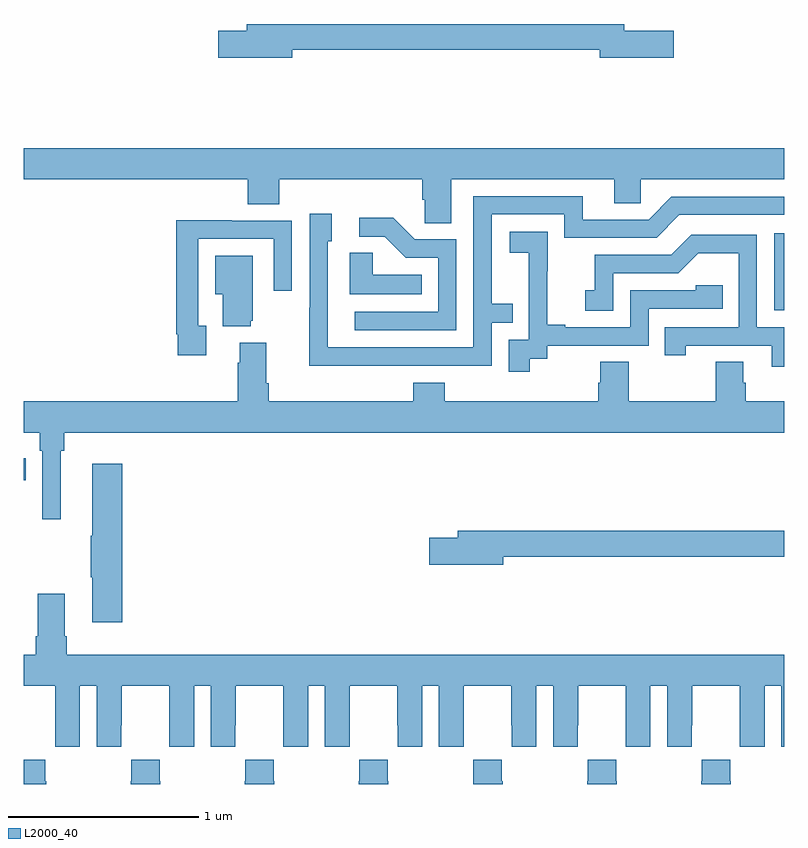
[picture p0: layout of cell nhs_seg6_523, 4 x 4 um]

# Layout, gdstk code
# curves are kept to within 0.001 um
import gdstk
lib = gdstk.Library(unit=1e-6, precision=1e-09)
def R(c, l, rs):  # rectangles x0, y0, x1, y1
    for r in rs: c.add(gdstk.rectangle(r[:2], r[2:], *l))
def P(c, l, *ps):  # polygons
    for p in ps: c.add(gdstk.Polygon(p, *l))
L2000_40 = (2000, 40)

nhs_seg6_523 = lib.new_cell('nhs_seg6_523')
R(nhs_seg6_523, L2000_40, [(143,935.098,143.012,935.214), (146.946,935.991,147,936.397)])
P(nhs_seg6_523, L2000_40, [(144.412,937.36),(146.03,937.36),(146.03,937.318),(146.419,937.318),(146.419,937.46),(146.158,937.46),(146.158,937.496),(144.173,937.496),(144.173,937.46),(144.024,937.46),(144.024,937.318),(144.412,937.318)],
  [(145.249,936.68),(146.105,936.68),(146.105,936.553),(146.244,936.553),(146.244,936.68),(147,936.68),(147,936.844),(143,936.844),(143,936.68),(144.179,936.68),(144.179,936.547),(144.344,936.547),(144.344,936.68),(145.097,936.68),(145.097,936.571),(145.11,936.571),(145.11,936.448),(145.249,936.448)],
  [(144.965,935.7),(145.461,935.7),(145.461,935.925),(145.571,935.925),(145.571,936.026),(145.461,936.026),(145.461,936.495),(145.842,936.495),(145.842,936.372),(146.328,936.372),(146.448,936.492),(147,936.492),(147,936.588),(146.406,936.588),(146.286,936.468),(145.939,936.468),(145.939,936.591),(145.365,936.591),(145.365,935.796),(144.6,935.796),(144.6,936.354),(144.619,936.354),(144.619,936.499),(144.504,936.499),(144.504,936.005),(144.502,936.005),(144.502,935.699)],
  [(145.275,936.363),(145.056,936.363),(144.943,936.476),(144.765,936.476),(144.765,936.378),(144.899,936.378),(145.01,936.267),(145.179,936.267),(145.179,935.982),(144.741,935.982),(144.741,935.886),(145.275,935.886)],
  [(143.959,935.91),(143.919,935.91),(143.919,936.366),(144.315,936.366),(144.315,936.093),(144.411,936.093),(144.411,936.462),(144.095,936.462),(144.095,936.464),(143.803,936.464),(143.803,935.866),(143.811,935.866),(143.811,935.754),(143.959,935.754)],
  [(145.66,935.737),(145.752,935.737),(145.752,935.805),(146.286,935.805),(146.286,936),(146.675,936),(146.675,936.123),(146.535,936.123),(146.535,936.096),(146.19,936.096),(146.19,935.901),(145.849,935.901),(145.849,935.914),(145.754,935.914),(145.754,936.197),(145.755,936.197),(145.755,936.403),(145.557,936.403),(145.557,936.293),(145.655,936.293),(145.655,936.065),(145.656,936.065),(145.656,935.835),(145.551,935.835),(145.551,935.667),(145.66,935.667)],
  [(147,935.901),(146.856,935.901),(146.856,936.387),(146.51,936.387),(146.405,936.282),(146.002,936.282),(146.002,936.097),(145.953,936.097),(145.953,935.988),(146.1,935.988),(146.1,936.186),(146.442,936.186),(146.546,936.29),(146.76,936.29),(146.76,935.901),(146.371,935.901),(146.371,935.754),(146.482,935.754),(146.482,935.805),(146.933,935.805),(146.933,935.694),(147,935.694)],
  [(145.094,936.178),(144.837,936.178),(144.837,936.293),(144.716,936.293),(144.716,936.074),(145.094,936.074)],
  [(144.194,935.937),(144.205,935.937),(144.205,936.277),(144.008,936.277),(144.008,936.074),(144.047,936.074),(144.047,935.906),(144.194,935.906)],
  [(143.194,935.252),(143.213,935.252),(143.213,935.348),(147,935.348),(147,935.512),(146.798,935.512),(146.798,935.61),(146.785,935.61),(146.785,935.72),(146.638,935.72),(146.638,935.512),(146.181,935.512),(146.181,935.72),(146.033,935.72),(146.033,935.61),(146.021,935.61),(146.021,935.512),(145.214,935.512),(145.214,935.611),(145.049,935.611),(145.049,935.512),(144.29,935.512),(144.29,935.608),(144.277,935.608),(144.277,935.821),(144.137,935.821),(144.137,935.714),(144.125,935.714),(144.125,935.512),(143,935.512),(143,935.348),(143.084,935.348),(143.084,935.252),(143.097,935.252),(143.097,934.893),(143.194,934.893)],
  [(143.519,935.185),(143.36,935.185),(143.36,934.805),(143.353,934.805),(143.353,934.588),(143.36,934.588),(143.36,934.35),(143.519,934.35)],
  [(145.522,934.696),(147,934.696),(147,934.832),(145.283,934.832),(145.283,934.796),(145.134,934.796),(145.134,934.654),(145.522,934.654)],
  [(143.296,934.016),(143.384,934.016),(143.384,933.696),(143.514,933.696),(143.514,933.808),(143.515,933.808),(143.515,934.016),(143.765,934.016),(143.765,933.808),(143.766,933.808),(143.766,933.696),(143.896,933.696),(143.896,934.016),(143.984,934.016),(143.984,933.696),(144.114,933.696),(144.114,933.808),(144.115,933.808),(144.115,934.016),(144.365,934.016),(144.365,933.808),(144.366,933.808),(144.366,933.696),(144.496,933.696),(144.496,934.016),(144.584,934.016),(144.584,933.696),(144.714,933.696),(144.714,933.808),(144.715,933.808),(144.715,934.016),(144.965,934.016),(144.965,933.808),(144.966,933.808),(144.966,933.696),(145.096,933.696),(145.096,934.016),(145.184,934.016),(145.184,933.696),(145.314,933.696),(145.314,933.808),(145.315,933.808),(145.315,934.016),(145.565,934.016),(145.565,933.808),(145.566,933.808),(145.566,933.696),(145.696,933.696),(145.696,934.016),(145.784,934.016),(145.784,933.696),(145.914,933.696),(145.914,933.808),(145.915,933.808),(145.915,934.016),(146.165,934.016),(146.165,933.808),(146.166,933.808),(146.166,933.696),(146.296,933.696),(146.296,934.016),(146.384,934.016),(146.384,933.696),(146.514,933.696),(146.514,933.808),(146.515,933.808),(146.515,934.016),(146.765,934.016),(146.765,933.808),(146.766,933.808),(146.766,933.696),(146.896,933.696),(146.896,934.016),(146.984,934.016),(146.984,933.696),(147,933.696),(147,934.18),(143.228,934.18),(143.228,934.276),(143.215,934.276),(143.215,934.501),(143.075,934.501),(143.075,934.276),(143.063,934.276),(143.063,934.18),(143,934.18),(143,934.016),(143.165,934.016),(143.165,933.808),(143.166,933.808),(143.166,933.696),(143.296,933.696)],
  [(143.718,933.515),(143.715,933.515),(143.715,933.628),(143.565,933.628),(143.565,933.515),(143.563,933.515),(143.563,933.5),(143.718,933.5)],
  [(144.318,933.515),(144.315,933.515),(144.315,933.628),(144.165,933.628),(144.165,933.515),(144.163,933.515),(144.163,933.5),(144.318,933.5)],
  [(144.918,933.515),(144.915,933.515),(144.915,933.628),(144.765,933.628),(144.765,933.515),(144.763,933.515),(144.763,933.5),(144.918,933.5)],
  [(145.518,933.515),(145.515,933.515),(145.515,933.628),(145.365,933.628),(145.365,933.515),(145.363,933.515),(145.363,933.5),(145.518,933.5)],
  [(146.118,933.515),(146.115,933.515),(146.115,933.628),(145.965,933.628),(145.965,933.515),(145.963,933.515),(145.963,933.5),(146.118,933.5)],
  [(146.718,933.515),(146.715,933.515),(146.715,933.628),(146.565,933.628),(146.565,933.515),(146.563,933.515),(146.563,933.5),(146.718,933.5)],
  [(143.118,933.515),(143.115,933.515),(143.115,933.628),(143,933.628),(143,933.5),(143.118,933.5)])

lib.write_gds('nhs_seg6_523.gds')
